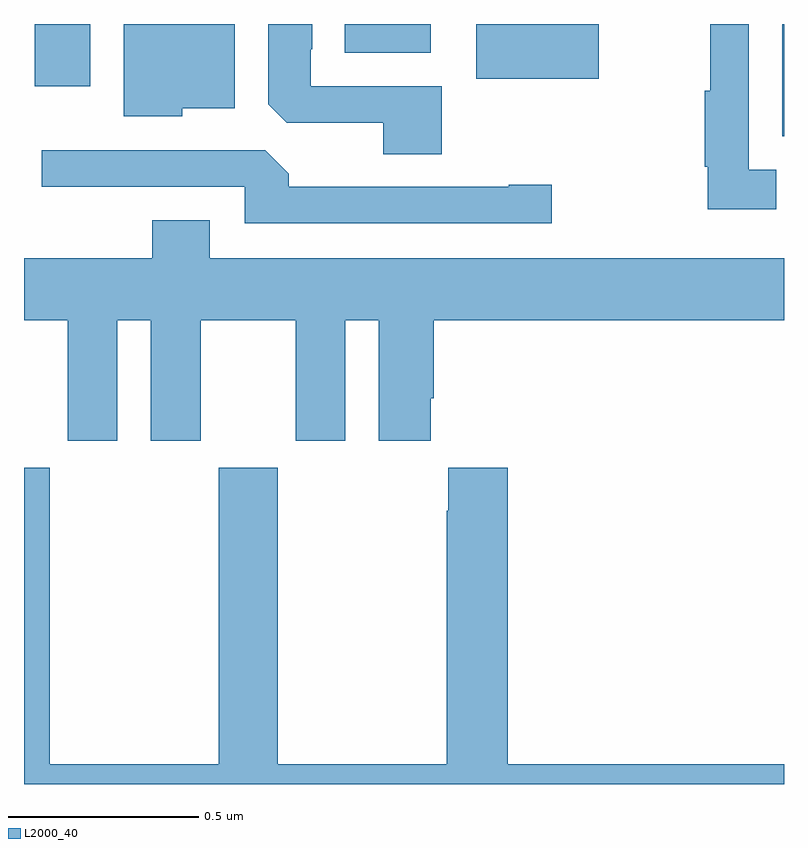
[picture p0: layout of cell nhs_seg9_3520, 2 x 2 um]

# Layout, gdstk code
import gdstk
lib = gdstk.Library(unit=1e-6, precision=1e-09)
def R(c, l, rs):  # rectangles x0, y0, x1, y1
    for r in rs: c.add(gdstk.rectangle(r[:2], r[2:], *l))
def P(c, l, *ps):  # polygons
    for p in ps: c.add(gdstk.Polygon(p, *l))
L2000_40 = (2000, 40)

nhs_seg9_3520 = lib.new_cell('nhs_seg9_3520')
R(nhs_seg9_3520, L2000_40, [(155.996,1230.205,156,1230.5), (154.028,1230.336,154.174,1230.5), (155.19,1230.356,155.512,1230.5), (154.844,1230.425,155.071,1230.5)])
P(nhs_seg9_3520, L2000_40, [(154.416,1230.278),(154.555,1230.278),(154.555,1230.5),(154.262,1230.5),(154.262,1230.257),(154.416,1230.257)],
  [(155.099,1230.336),(154.755,1230.336),(154.755,1230.433),(154.759,1230.433),(154.759,1230.5),(154.643,1230.5),(154.643,1230.289),(154.692,1230.24),(154.946,1230.24),(154.946,1230.157),(155.099,1230.157)],
  [(155.98,1230.117),(155.907,1230.117),(155.907,1230.5),(155.806,1230.5),(155.806,1230.324),(155.791,1230.324),(155.791,1230.124),(155.799,1230.124),(155.799,1230.012),(155.98,1230.012)],
  [(155.389,1230.077),(155.276,1230.077),(155.276,1230.072),(154.697,1230.072),(154.697,1230.106),(154.635,1230.168),(154.047,1230.168),(154.047,1230.072),(154.581,1230.072),(154.581,1229.976),(155.389,1229.976)],
  [(154.246,1229.72),(154.334,1229.72),(154.334,1229.403),(154.465,1229.403),(154.465,1229.72),(154.715,1229.72),(154.715,1229.403),(154.846,1229.403),(154.846,1229.72),(154.934,1229.72),(154.934,1229.403),(155.071,1229.403),(155.071,1229.515),(155.078,1229.515),(155.078,1229.72),(156,1229.72),(156,1229.884),(154.489,1229.884),(154.489,1229.983),(154.337,1229.983),(154.337,1229.884),(154,1229.884),(154,1229.72),(154.115,1229.72),(154.115,1229.403),(154.246,1229.403)],
  [(156,1228.552),(155.273,1228.552),(155.273,1229.332),(155.117,1229.332),(155.117,1229.219),(155.113,1229.219),(155.113,1228.552),(154.668,1228.552),(154.668,1229.332),(154.513,1229.332),(154.513,1228.552),(154.068,1228.552),(154.068,1229.332),(154,1229.332),(154,1228.5),(156,1228.5)])

lib.write_gds('nhs_seg9_3520.gds')
